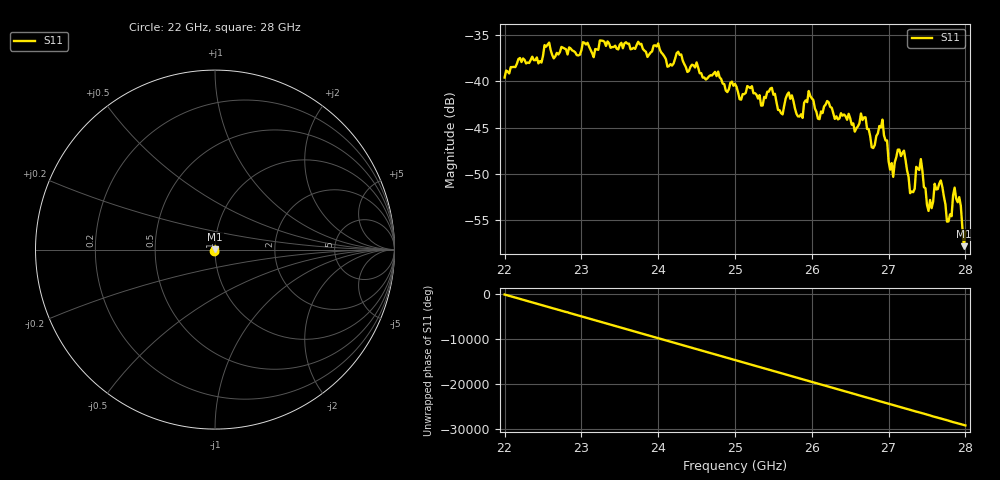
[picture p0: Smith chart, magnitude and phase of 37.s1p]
#  HZ  S  RI  R  50.00
! Rohde & Schwarz ZVA40 4Ports - Version 3.90 - 1145.1110k42 SN: 100403
! Date: 2023-10-04 06:15:31
! Measurement: S12
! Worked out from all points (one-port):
!   301 points, 22 GHz to 28 GHz, reference 50 ohm
!   lowest |S11| = -57.8 dB at 27.98 GHz (marker M1), VSWR 1.00, Z = 50 + j0.128 ohm
!   |S11| at or under -10 dB: start of sweep to end of sweep
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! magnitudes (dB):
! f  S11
! 22 GHz  -39.6
! 22.76 GHz  -36.4
! 23.5 GHz  -36.0
! 24 GHz  -35.9
! 24.12 GHz  -38.4
! 24.26 GHz  -36.8
! 25 GHz  -40.3
! 25.34 GHz  -42.6
! 25.48 GHz  -40.7
! 25.62 GHz  -43.6
! 25.76 GHz  -42.1
! 26.5 GHz  -44.0
! 26.7 GHz  -43.9
! 26.8 GHz  -47.2
! 26.92 GHz  -44.1
! 27.06 GHz  -50.3
! 27.14 GHz  -47.4
! 27.26 GHz  -50.3
! 27.32 GHz  -52.0
! 27.42 GHz  -48.4
! 27.52 GHz  -54.0
! 27.68 GHz  -50.7
! 27.76 GHz  -55.1
! 27.82 GHz  -54.6
! 27.86 GHz  -51.5
! 27.94 GHz  -53.4
! 27.98 GHz  -57.8
! 28 GHz  -56.2
